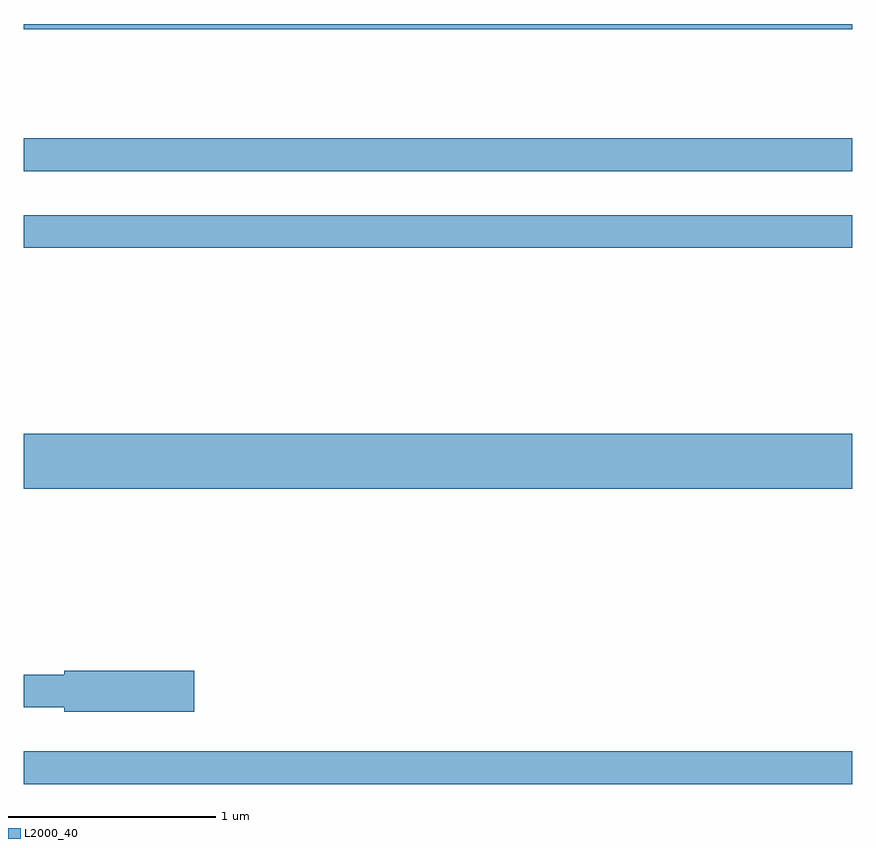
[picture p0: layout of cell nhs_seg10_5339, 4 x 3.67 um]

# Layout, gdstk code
import gdstk
lib = gdstk.Library(unit=1e-6, precision=1e-09)
def R(c, l, rs):  # rectangles x0, y0, x1, y1
    for r in rs: c.add(gdstk.rectangle(r[:2], r[2:], *l))
def P(c, l, *ps):  # polygons
    for p in ps: c.add(gdstk.Polygon(p, *l))
L2000_40 = (2000, 40)

nhs_seg10_5339 = lib.new_cell('nhs_seg10_5339')
R(nhs_seg10_5339, L2000_40, [(341.611,2196.851,345.611,2197.009), (341.611,2198.276,345.611,2198.544), (341.611,2199.441,345.611,2199.599), (341.611,2199.811,345.611,2199.969), (341.611,2200.496,345.611,2200.522)])
P(nhs_seg10_5339, L2000_40, [(342.434,2197.399),(341.806,2197.399),(341.806,2197.379),(341.611,2197.379),(341.611,2197.221),(341.806,2197.221),(341.806,2197.201),(342.434,2197.201)])

lib.write_gds('nhs_seg10_5339.gds')
